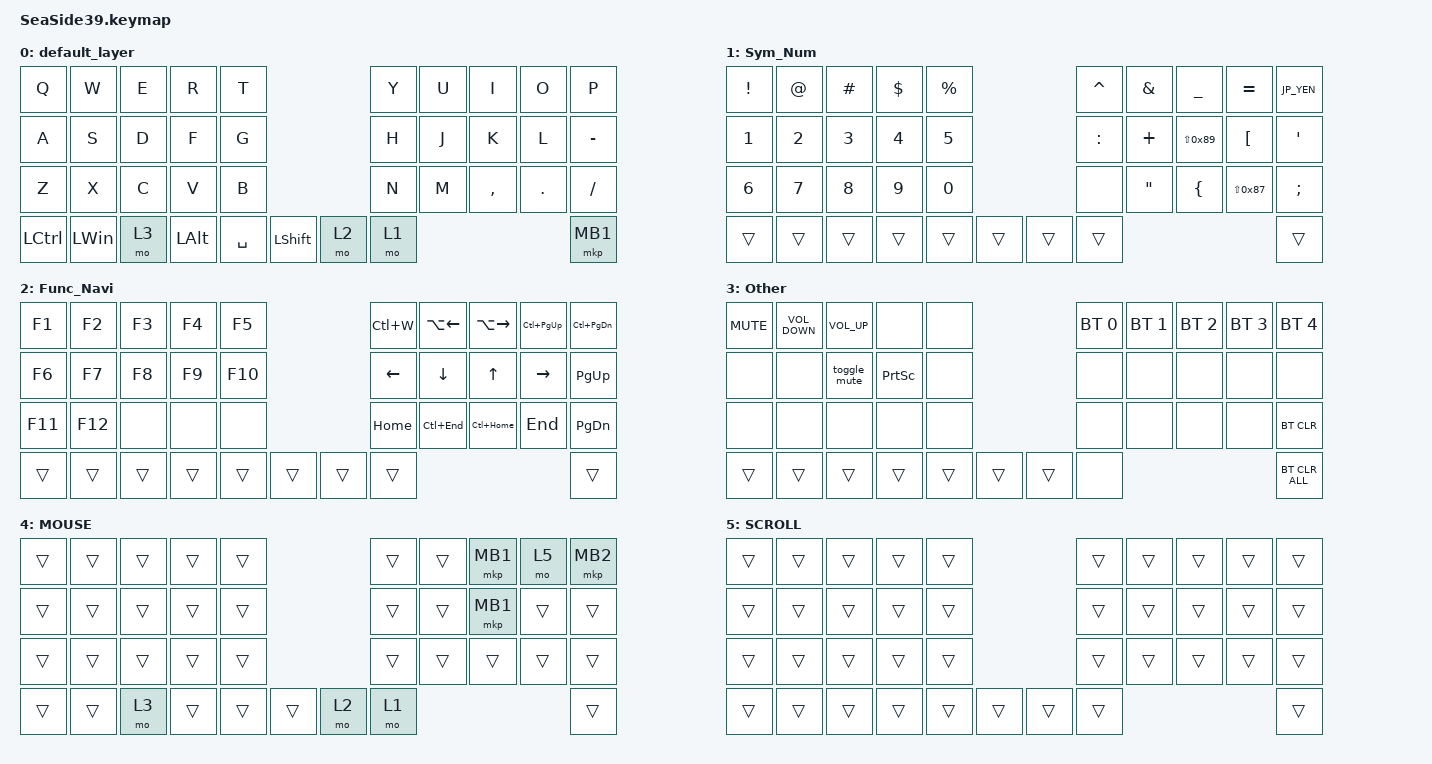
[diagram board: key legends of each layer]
#include <behaviors.dtsi>
#include <dt-bindings/zmk/bt.h>
#include <dt-bindings/zmk/keys.h>
#include <dt-bindings/zmk/pointing.h>

// OS設定を日本語キーボードのまま使用するための変換定義
#define JP_DQUOTE       AT                // "
#define JP_AMPERSAND    CARET             // &
#define JP_QUOTE        AMPERSAND         // '
#define JP_EQUAL        UNDER             // =
#define JP_CARET        EQUAL             // ^
#define JP_YEN          0x89              // ¥
#define JP_PLUS         COLON             // +
#define JP_TILDE        PLUS              // ~
#define JP_PIPE         LS(0x89)          // |
#define JP_AT           LEFT_BRACKET      // @
#define JP_COLON        SINGLE_QUOTE      // :
#define JP_ASTERISK     DOUBLE_QUOTES     // *
#define JP_BACKQUOTE    LEFT_BRACE        // `
#define JP_UNDERSCORE   LS(0x87)          // _
#define JP_LBRACKET     RIGHT_BRACKET     // [
#define JP_RBRACKET     BACKSLASH         // ]
#define JP_LPAREN       ASTERISK          // (
#define JP_RPAREN       LEFT_PARENTHESIS  // )
#define JP_LBRACE       RIGHT_BRACE       // {
#define JP_RBRACE       PIPE              // }
#define JP_KANA         LANGUAGE_1        // かな
#define JP_EISU         LANGUAGE_2        // 英数
#define JP_HANZEN       GRAVE             // 半角/全角
//

#define MOUSE 4
#define SCROLL 5

/ {
    combos {
        compatible = "zmk,combos";

        qw_as_esc_eisu {
            bindings = <&esc_eisu>;
            key-positions = <0 1>;
            timeout-ms = <25>;
        };

        we_as_ctrl_alt_tab {
            bindings = <&kp LA(LC(TAB))>;
            key-positions = <1 2>;
            timeout-ms = <25>;
        };

        // O(8)+P(9) で BACKSPACE。&kp 直接バインドなので押しっぱなしで OS リピート=連打が効く。
        // ※コンボ→マクロ経由だと hold が伝播せず連打にならないため、連打優先で直接 &kp にしている。
        op_as_bs {
            bindings = <&kp BACKSPACE>;
            key-positions = <8 9>;
            timeout-ms = <25>;
        };

        pl_as_del {
            bindings = <&kp DELETE>;
            key-positions = <9 18>;
            timeout-ms = <25>;
        };

        // マウス操作はすべてコンボ(AML廃止)。&mkp/&mo 直接バインドなので
        // require-prior-idle-ms: ローマ字「じ(ji)」等のタイピング中誤爆を防ぐ
        // (トラックボール移動はキー入力ではないので、トラボ操作直後のクリックは阻害しない)。
        ji_as_lclick {
            bindings = <&mkp MB1>;
            key-positions = <16 7>;
            timeout-ms = <25>;
            require-prior-idle-ms = <150>;
        };

        il_as_rclick {
            bindings = <&mkp MB2>;
            key-positions = <7 18>;
            timeout-ms = <25>;
            require-prior-idle-ms = <150>;
        };

        io_as_scroll {
            bindings = <&mo 5>;
            key-positions = <7 8>;
            timeout-ms = <25>;
            require-prior-idle-ms = <150>;
        };

        // U(6)+I(7) でダブルクリック。J+K は「かな」で埋まっているため I 起点側に新設。
        ui_as_dblclick {
            bindings = <&double_click>;
            key-positions = <6 7>;
            timeout-ms = <25>;
            require-prior-idle-ms = <150>;
        };

        uo_as_lbrac {
            bindings = <&kp JP_LBRACKET>;
            key-positions = <6 8>;
            timeout-ms = <25>;
        };

        ip_as_rbrac {
            bindings = <&kp JP_RBRACKET>;
            key-positions = <7 9>;
            timeout-ms = <25>;
        };

        jl_as_lparen {
            bindings = <&kp JP_LPAREN>;
            key-positions = <16 18>;
            timeout-ms = <25>;
        };

        kmin_as_rparen {
            bindings = <&kp JP_RPAREN>;
            key-positions = <17 19>;
            timeout-ms = <25>;
        };

        mdot_as_lbrace {
            bindings = <&kp JP_LBRACE>;
            key-positions = <26 28>;
            timeout-ms = <25>;
        };

        comslash_as_rbrace {
            bindings = <&kp JP_RBRACE>;
            key-positions = <27 29>;
            timeout-ms = <25>;
        };

        up_as_brackets {
            bindings = <&brackets>;
            key-positions = <6 9>;
            timeout-ms = <25>;
        };

        jmin_as_parentheses {
            bindings = <&parentheses>;
            key-positions = <16 19>;
            timeout-ms = <25>;
        };

        df_as_eisu {
            bindings = <&kp JP_EISU>;
            key-positions = <13 12>;
            timeout-ms = <25>;
        };

        jk_as_kana {
            bindings = <&kp JP_KANA>;
            key-positions = <17 16>;
            timeout-ms = <25>;
        };

        sd_as_tab {
            bindings = <&kp TAB>;
            key-positions = <11 12>;
            timeout-ms = <25>;
        };

        kl_as_enter {
            bindings = <&kp ENTER>;
            key-positions = <18 17>;
            timeout-ms = <25>;
        };

        wt_as_alt_f4 {
            bindings = <&kp LA(F4)>;
            key-positions = <1 4>;
            timeout-ms = <25>;
        };

        yunm_as_bootloader {
            bindings = <&bootloader>;
            key-positions = <5 6 25 26>;
            timeout-ms = <25>;
        };

        zx_as_ctrl_z {
            bindings = <&kp LC(Z)>;
            key-positions = <20 21>;
            timeout-ms = <25>;
        };

        xc_as_ctrl_x {
            bindings = <&kp LC(X)>;
            key-positions = <21 22>;
            timeout-ms = <25>;
        };

        cv_as_ctrl_c {
            bindings = <&kp LC(C)>;
            key-positions = <22 23>;
            timeout-ms = <25>;
        };

        vb_as_ctrl_v {
            bindings = <&kp LC(V)>;
            key-positions = <23 24>;
            timeout-ms = <25>;
        };
    };

    macros {
        parentheses: parentheses {
            compatible = "zmk,behavior-macro";
            #binding-cells = <0>;
            bindings = <&kp JP_LPAREN &kp JP_RPAREN &kp LEFT>;
            label = "PARENTHESES";
        };

        brackets: brackets {
            compatible = "zmk,behavior-macro";
            #binding-cells = <0>;
            bindings = <&kp JP_LBRACKET &kp JP_RBRACKET &kp LEFT>;
            label = "BRACKETS";
        };

        esc_eisu: esc_eisu {
            compatible = "zmk,behavior-macro";
            #binding-cells = <0>;
            bindings = <&kp ESCAPE &kp JP_EISU>;
            label = "ESC_EISU";
        };

        // 左クリック2連打。press(25ms)→50ms→press(25ms) で押下間隔 75ms・全体 100ms。
        // 人間のダブルクリック(60〜150ms)相当に寄せてある。速すぎると押下保持が
        // BLE の connection interval と競り、リモートデスクトップ等でクリックを
        // 取りこぼす。遅すぎると OS のダブルクリック判定(既定 500ms)を外す。
        double_click: double_click {
            compatible = "zmk,behavior-macro";
            #binding-cells = <0>;
            bindings = <&mkp MB1 &mkp MB1>;
            label = "DOUBLE_CLICK";
            wait-ms = <50>;
            tap-ms = <25>;
        };

        toggle_mute: toggle_mute {
            compatible = "zmk,behavior-macro";
            #binding-cells = <0>;
            bindings = <&kp LA(A) &kp LC(LS(M))>;
            label = "TOGGLE_MUTE";
            wait-ms = <5>;
            tap-ms = <5>;
        };
    };

    keymap {
        compatible = "zmk,keymap";
        default_layer {
            bindings = <
&kp Q                &kp W         &kp E  &kp R         &kp T                               &kp Y  &kp U  &kp I      &kp O    &kp P
&kp A                &kp S         &kp D  &kp F         &kp G                               &kp H  &kp J  &kp K      &kp L    &kp MINUS
&kp Z                &kp X         &kp C  &kp V         &kp B                               &kp N  &kp M  &kp COMMA  &kp DOT  &kp SLASH
&kp LCTRL            &kp LEFT_WIN  &mo 3  &kp LEFT_ALT  &kp SPACE  &kp LEFT_SHIFT   &mo 2   &mo 1                             &mkp MB1
            >;
        };

        Sym_Num {
            bindings = <
&kp EXCLAMATION    &kp JP_DQUOTE    &kp HASH         &kp DOLLAR      &kp PERCENT                         &kp JP_AMPERSAND  &kp JP_QUOTE       &kp JP_EQUAL     &kp JP_CARET      &kp JP_YEN
&kp NUMBER_1       &kp NUMBER_2     &kp NUMBER_3     &kp NUMBER_4    &kp NUMBER_5                        &kp JP_PLUS       &kp JP_TILDE       &kp JP_PIPE      &kp JP_AT         &kp JP_COLON
&kp NUMBER_6       &kp NUMBER_7     &kp NUMBER_8     &kp NUMBER_9    &kp NUMBER_0                        &none             &kp JP_ASTERISK    &kp JP_BACKQUOTE &kp JP_UNDERSCORE &kp SEMICOLON
&trans             &trans           &trans           &trans          &trans          &trans      &trans  &trans                                                                  &trans
            >;
        };

        Func_Navi {
            bindings = <
&kp F1             &kp F2        &kp F3        &kp F4        &kp F5                          &kp LC(W)       &kp LA(LEFT)    &kp LA(RIGHT)  &kp LC(PAGE_UP)  &kp LC(PAGE_DOWN)
&kp F6             &kp F7        &kp F8        &kp F9        &kp F10                         &kp LEFT_ARROW  &kp DOWN_ARROW  &kp UP_ARROW   &kp RIGHT_ARROW  &kp PAGE_UP
&kp F11            &kp F12       &none         &none         &none                           &kp HOME        &kp LC(END)     &kp LC(HOME)   &kp END          &kp PAGE_DOWN
&trans             &trans        &trans        &trans        &trans      &trans      &trans  &trans                                                          &trans
            >;
        };

        Other {
            bindings = <
&kp C_MUTE  &kp C_VOLUME_DOWN  &kp C_VOLUME_UP  &none            &none                       &bt BT_SEL 0  &bt BT_SEL 1  &bt BT_SEL 2  &bt BT_SEL 3  &bt BT_SEL 4
&none       &none              &toggle_mute     &kp PRINTSCREEN  &none                       &none         &none         &none         &none         &none
&none       &none              &none            &none            &none                       &none         &none         &none         &none         &bt BT_CLR
&trans      &trans             &trans           &trans           &trans  &trans      &trans  &none                                                   &bt BT_CLR_ALL
            >;
        };

        // AML 廃止に伴い現在未使用。削除するとレイヤー番号(SCROLL=5)がずれるため定義だけ残している。
        MOUSE {
            bindings = <
&trans  &trans  &trans  &trans  &trans                      &trans  &trans  &mkp MB1  &mo 5   &mkp MB2
&trans  &trans  &trans  &trans  &trans                      &trans  &trans  &mkp MB1  &trans  &trans
&trans  &trans  &trans  &trans  &trans                      &trans  &trans  &trans    &trans  &trans
&trans  &trans  &mo 3   &trans  &trans  &trans      &mo 2   &mo 1                             &trans
            >;
        };

        SCROLL {
            bindings = <
&trans  &trans  &trans  &trans  &trans                      &trans  &trans  &trans  &trans  &trans
&trans  &trans  &trans  &trans  &trans                      &trans  &trans  &trans  &trans  &trans
&trans  &trans  &trans  &trans  &trans                      &trans  &trans  &trans  &trans  &trans
&trans  &trans  &trans  &trans  &trans  &trans      &trans  &trans                          &trans
            >;
        };
    };
};
